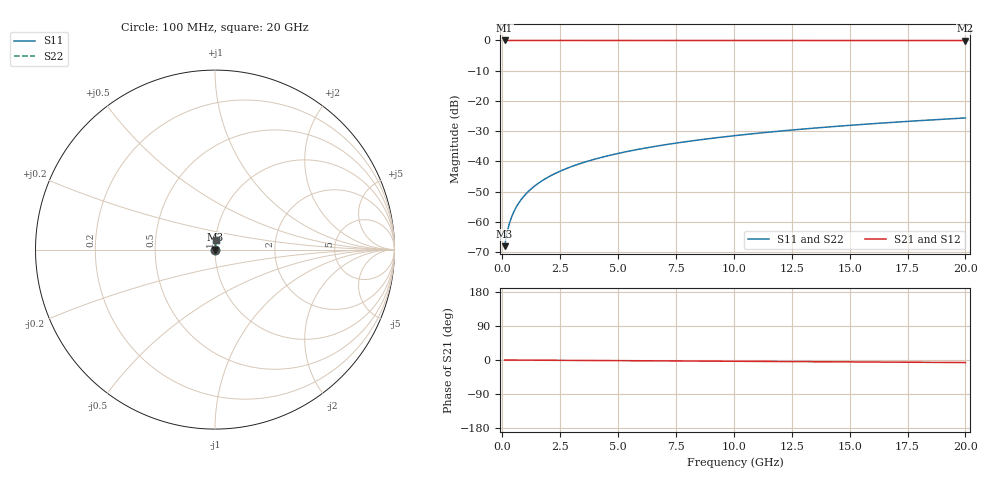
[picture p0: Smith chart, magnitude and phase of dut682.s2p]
! Touchstone file exported from HFSS 2026.1.0
!  File:  C:/ffzhzh/LocalFiles/Ansys_Project_Files/temp_train_TSV_682_1783027419_55676.aedt
!  Generated:  05:25:23 AM Jul  3, 2026
!  Design:  TSV
!  Project:  temp_train_TSV_682_1783027419_55676
! Variables:
!  h_bsmrdl = 2um
!  h_ox = 20um
!  h_rdl = 5um
!  h_sub = 55.39um
!  h_tmrdl = 5um
!  h_tsv = 55.39um
!  h_via = 3um
!  l_bsmrdl = 300um
!  l_sub = 410.56um
!  l_tmrdl = 200um
!  m_sub = 200um
!  pitch = 41.26um
!  r_tsv = 5.28um
!  s_tmrdl = 10um
!  w_bsmrdl = 18um
!  w_sub = 500um
!  w_tmrdl = 12um
!  x_tsv_center1 = 206um
!  x_tsv_center2 = 524um
!  x_tsv_center3 = 736um
!  x_tsv_center4 = 1054um
!  x_tsv_center5 = 1266um
!  x_tsv_center6 = 1584um
# GHz S MA R 50.000000
! Terminal data exported
! Port[1] = TSV1_1_T1
! Port[2] = TSV1_1_T2
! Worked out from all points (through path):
!   200 points, 100 MHz to 20 GHz, reference 50 ohm
!   highest |S21| = 0.00 dB at 100 MHz (marker M1); lowest = 0.0 dB at 20 GHz (marker M2)
!   lowest |S11| = -68.1 dB at 100 MHz (marker M3), VSWR 1.00, Z = 50 + j0.0295 ohm
!   |S11| at or under -10 dB: start of sweep to end of sweep
!   |S22| runs from -68.1 to -25.6 dB; largest |S21 - S12| = 2.3e-15
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0.1  0.0003952 48.3  0.9997 -0.0  0.9997 -0.0  0.0003952 48.3
! Gamma 0 0 0 0
! Port Impedance 50 0 50 0
0.2  0.0006478 65.1  0.9997 -0.1  0.9997 -0.1  0.0006478 65.1
0.3  0.0009212 71.9  0.9997 -0.1  0.9997 -0.1  0.0009212 71.9
0.4  0.001198 75.4  0.9997 -0.1  0.9997 -0.1  0.001198 75.4
0.5  0.001473 77.5  0.9997 -0.2  0.9997 -0.2  0.001473 77.5
0.7  0.002019 80.0  0.9997 -0.2  0.9997 -0.2  0.002019 80.0
0.8  0.002291 80.9  0.9996 -0.3  0.9996 -0.3  0.002291 80.9
1  0.002833 82.1  0.9996 -0.3  0.9996 -0.3  0.002833 82.1
1.2  0.003375 82.9  0.9996 -0.4  0.9996 -0.4  0.003375 82.9
1.4  0.003916 83.5  0.9996 -0.5  0.9996 -0.5  0.003916 83.5
1.7  0.004728 84.1  0.9995 -0.6  0.9995 -0.6  0.004728 84.1
2  0.005538 84.5  0.9995 -0.7  0.9995 -0.7  0.005538 84.5
2.7  0.007421 85.0  0.9994 -0.9  0.9994 -0.9  0.007421 85.0
3.5  0.009556 85.2  0.9994 -1.2  0.9994 -1.2  0.009556 85.2
4.2  0.01141 85.2  0.9993 -1.4  0.9993 -1.4  0.01141 85.2
5  0.01352 85.2  0.9992 -1.7  0.9992 -1.7  0.01352 85.2
6.8  0.01822 84.9  0.999 -2.3  0.999 -2.3  0.01822 84.9
8.3  0.02211 84.7  0.9988 -2.8  0.9988 -2.8  0.02211 84.7
10.1  0.02678 84.3  0.9986 -3.4  0.9986 -3.4  0.02678 84.3
13.4  0.0353 83.5  0.9982 -4.5  0.9982 -4.5  0.0353 83.5
16.7  0.04377 82.6  0.9977 -5.6  0.9977 -5.6  0.04377 82.6
20  0.0522 81.6  0.9971 -6.7  0.9971 -6.7  0.0522 81.6
